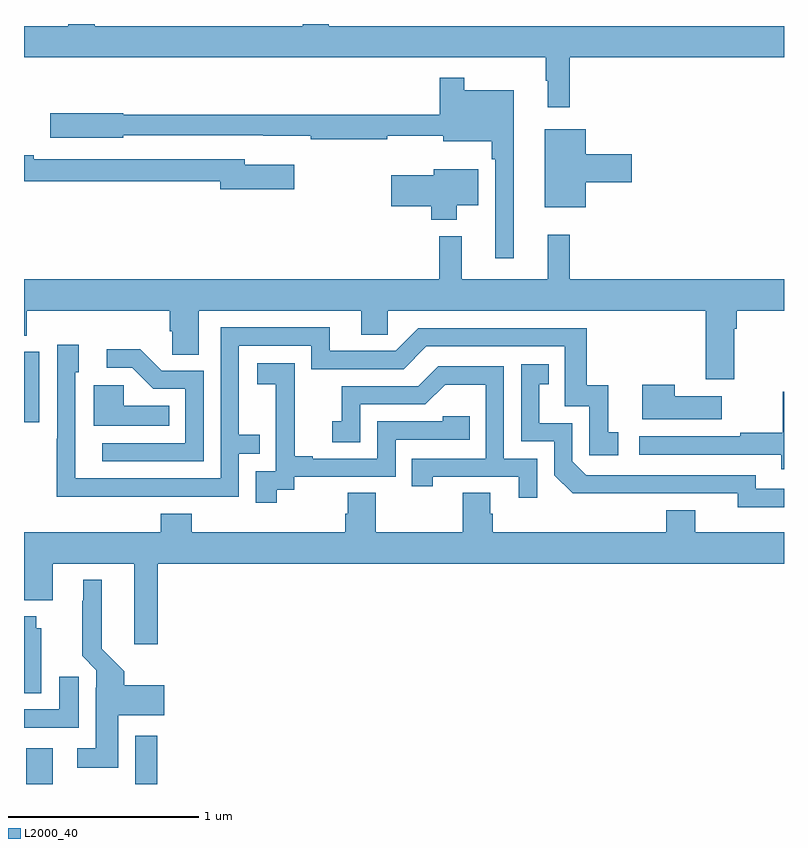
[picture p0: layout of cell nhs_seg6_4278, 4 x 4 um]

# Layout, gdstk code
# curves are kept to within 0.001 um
import gdstk
lib = gdstk.Library(unit=1e-6, precision=1e-09)
def R(c, l, rs):  # rectangles x0, y0, x1, y1
    for r in rs: c.add(gdstk.rectangle(r[:2], r[2:], *l))
def P(c, l, *ps):  # polygons
    for p in ps: c.add(gdstk.Polygon(p, *l))
L2000_40 = (2000, 40)

nhs_seg6_4278 = lib.new_cell('nhs_seg6_4278')
R(nhs_seg6_4278, L2000_40, [(363.011,955.5,363.151,955.687), (363.585,955.5,363.701,955.753), (363,957.405,363.081,957.774)])
P(nhs_seg6_4278, L2000_40, [(365.873,959.324),(367,959.324),(367,959.488),(364.604,959.488),(364.604,959.5),(364.468,959.5),(364.468,959.488),(363.373,959.488),(363.373,959.5),(363.233,959.5),(363.233,959.488),(363,959.488),(363,959.324),(365.745,959.324),(365.745,959.201),(365.756,959.201),(365.756,959.061),(365.873,959.061)],
  [(365.578,959.152),(365.317,959.152),(365.317,959.218),(365.188,959.218),(365.188,959.023),(363.522,959.023),(363.522,959.031),(363.138,959.031),(363.138,958.901),(363.522,958.901),(363.522,958.914),(364.258,958.914),(364.258,958.913),(364.51,958.913),(364.51,958.894),(364.911,958.894),(364.911,958.913),(365.207,958.913),(365.207,958.883),(365.461,958.883),(365.461,958.787),(365.481,958.787),(365.481,958.266),(365.578,958.266)],
  [(365.956,958.667),(366.199,958.667),(366.199,958.814),(365.956,958.814),(365.956,958.945),(365.741,958.945),(365.741,958.535),(365.956,958.535)],
  [(364.423,958.759),(364.162,958.759),(364.162,958.788),(363.05,958.788),(363.05,958.808),(363,958.808),(363,958.672),(364.034,958.672),(364.034,958.63),(364.423,958.63)],
  [(365.278,958.547),(365.392,958.547),(365.392,958.735),(365.156,958.735),(365.156,958.705),(364.932,958.705),(364.932,958.54),(365.144,958.54),(365.144,958.469),(365.278,958.469)],
  [(363,957.859),(363.014,957.859),(363.014,957.992),(363.767,957.992),(363.767,957.883),(363.78,957.883),(363.78,957.76),(363.919,957.76),(363.919,957.992),(364.775,957.992),(364.775,957.865),(364.914,957.865),(364.914,957.992),(366.587,957.992),(366.587,957.63),(366.739,957.63),(366.739,957.896),(366.752,957.896),(366.752,957.992),(367,957.992),(367,958.156),(365.873,958.156),(365.873,958.39),(365.756,958.39),(365.756,958.156),(365.303,958.156),(365.303,958.384),(365.185,958.384),(365.185,958.156),(363,958.156)],
  [(363.635,957.012),(364.131,957.012),(364.131,957.237),(364.241,957.237),(364.241,957.338),(364.131,957.338),(364.131,957.807),(364.512,957.807),(364.512,957.684),(364.998,957.684),(365.118,957.804),(365.847,957.804),(365.847,957.489),(365.976,957.489),(365.976,957.231),(366.127,957.231),(366.127,957.351),(366.074,957.351),(366.074,957.598),(365.963,957.598),(365.963,957.9),(365.076,957.9),(364.956,957.78),(364.609,957.78),(364.609,957.903),(364.035,957.903),(364.035,957.108),(363.271,957.108),(363.27,957.666),(363.289,957.666),(363.289,957.811),(363.174,957.811),(363.174,957.317),(363.172,957.317),(363.172,957.011)],
  [(363.945,957.675),(363.726,957.675),(363.613,957.788),(363.435,957.788),(363.435,957.69),(363.569,957.69),(363.68,957.579),(363.849,957.579),(363.849,957.294),(363.411,957.294),(363.411,957.198),(363.945,957.198)],
  [(364.33,957.049),(364.422,957.049),(364.422,957.117),(364.956,957.117),(364.956,957.312),(365.345,957.312),(365.345,957.435),(365.205,957.435),(365.205,957.408),(364.86,957.408),(364.86,957.213),(364.519,957.213),(364.519,957.226),(364.424,957.226),(364.424,957.509),(364.425,957.509),(364.425,957.715),(364.227,957.715),(364.227,957.605),(364.325,957.605),(364.325,957.377),(364.326,957.377),(364.326,957.147),(364.221,957.147),(364.221,956.979),(364.33,956.979)],
  [(367,957.054),(366.852,957.054),(366.852,957.126),(365.958,957.126),(365.886,957.198),(365.886,957.399),(365.713,957.399),(365.713,957.603),(365.762,957.603),(365.762,957.709),(365.616,957.709),(365.616,957.303),(365.79,957.303),(365.79,957.126),(365.888,957.029),(366.756,957.03),(366.756,956.957),(367,956.957)],
  [(365.7,957.213),(365.526,957.213),(365.526,957.699),(365.18,957.699),(365.075,957.594),(364.672,957.594),(364.672,957.409),(364.623,957.409),(364.623,957.3),(364.77,957.3),(364.77,957.498),(365.112,957.498),(365.216,957.602),(365.43,957.602),(365.43,957.213),(365.041,957.213),(365.041,957.066),(365.152,957.066),(365.152,957.117),(365.603,957.117),(365.603,957.006),(365.7,957.006)],
  [(366.673,957.541),(366.425,957.541),(366.425,957.601),(366.254,957.601),(366.254,957.419),(366.673,957.419)],
  [(363.764,957.49),(363.525,957.49),(363.525,957.598),(363.368,957.598),(363.368,957.386),(363.764,957.386)],
  [(367,957.564),(366.993,957.564),(366.993,957.35),(366.769,957.35),(366.769,957.33),(366.237,957.33),(366.237,957.234),(366.985,957.234),(366.985,957.156),(367,957.156)],
  [(363.704,956.66),(367,956.66),(367,956.824),(366.532,956.824),(366.532,956.941),(366.38,956.941),(366.38,956.824),(365.468,956.824),(365.468,956.922),(365.455,956.922),(365.455,957.032),(365.308,957.032),(365.308,956.824),(364.851,956.824),(364.851,957.032),(364.703,957.032),(364.703,956.922),(364.691,956.922),(364.691,956.824),(363.884,956.824),(363.884,956.923),(363.719,956.923),(363.719,956.824),(363,956.824),(363,956.468),(363.151,956.468),(363.151,956.66),(363.581,956.66),(363.581,956.235),(363.704,956.235)],
  [(363.496,955.862),(363.739,955.862),(363.739,956.02),(363.527,956.02),(363.527,956.094),(363.409,956.212),(363.409,956.575),(363.311,956.575),(363.311,956.465),(363.307,956.465),(363.307,956.174),(363.381,956.1),(363.381,956.006),(363.377,956.006),(363.377,955.687),(363.279,955.687),(363.279,955.586),(363.496,955.586)],
  [(363.091,956.319),(363.064,956.319),(363.064,956.383),(363,956.383),(363,955.978),(363.091,955.978)],
  [(363.289,956.065),(363.185,956.065),(363.185,955.893),(363,955.893),(363,955.797),(363.289,955.797)])

lib.write_gds('nhs_seg6_4278.gds')
